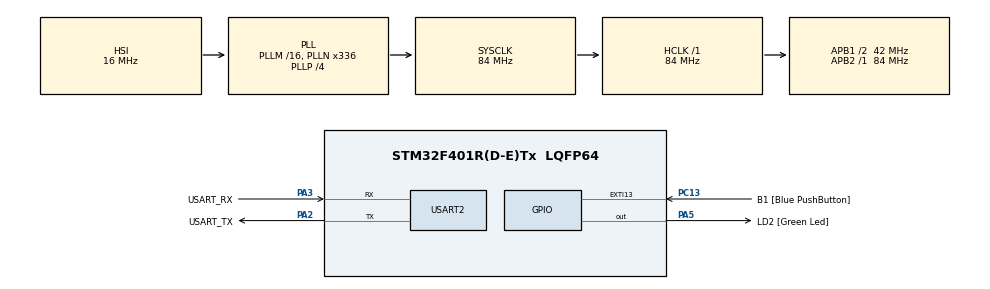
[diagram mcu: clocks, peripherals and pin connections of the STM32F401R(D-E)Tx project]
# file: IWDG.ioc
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Mcu.Family=STM32F4
PC15-OSC32_OUT.Mode=LSE-External-Oscillator
PA2.GPIO_PuPd=GPIO_NOPULL
RCC.CortexFreq_Value=84000000
PC13-ANTI_TAMP.GPIO_PuPd=GPIO_PULLUP
PC13-ANTI_TAMP.GPIO_Label=B1 [Blue PushButton]
VP_IWDG_VS_IWDG.Mode=IWDG_Activate
PA14.GPIO_Label=TCK
PA3.GPIO_PuPd=GPIO_NOPULL
PH1\ -\ OSC_OUT.Mode=HSE-External-Clock-Source
PA2.GPIO_Speed=GPIO_SPEED_FREQ_LOW
RCC.APB1CLKDivider=RCC_HCLK_DIV2
PC14-OSC32_IN.Signal=RCC_OSC32_IN
PA3.GPIO_Speed=GPIO_SPEED_FREQ_LOW
RCC.SYSCLKSource=RCC_SYSCLKSOURCE_PLLCLK
ProjectManager.StackSize=0x400
PA13.Signal=SYS_JTMS-SWDIO
PA3.Mode=Asynchronous
PH0\ -\ OSC_IN.Mode=HSE-External-Clock-Source
PH0\ -\ OSC_IN.Signal=RCC_OSC_IN
ProjectManager.TargetToolchain=STM32CubeIDE
PA3.GPIO_Mode=GPIO_MODE_AF_PP
RCC.HCLKFreq_Value=84000000
RCC.APB2TimFreq_Value=84000000
PC15-OSC32_OUT.Signal=RCC_OSC32_OUT
RCC.AHBFreq_Value=84000000
NVIC.EXTI15_10_IRQn=true\:0\:0\:false\:false\:true\:true\:true
PA5.Signal=GPIO_Output
RCC.HSE_VALUE=8000000
PH1\ -\ OSC_OUT.Signal=RCC_OSC_OUT
board=NUCLEO-F401RE
PC13-ANTI_TAMP.Signal=GPXTI13
RCC.VCOOutputFreq_Value=336000000
RCC.APB2Freq_Value=84000000
PC14-OSC32_IN.Mode=LSE-External-Oscillator
PA14.Mode=Serial_Wire
PA5.GPIO_PuPd=GPIO_NOPULL
PA13.Mode=Serial_Wire
Mcu.Name=STM32F401R(D-E)Tx
PA2.Signal=USART2_TX
PA13.GPIO_Label=TMS
RCC.48MHZClocksFreq_Value=48000000
PB3.Signal=SYS_JTDO-SWO
RCC.SYSCLKFreq_VALUE=84000000
Mcu.Package=LQFP64
PA5.GPIO_Label=LD2 [Green Led]
USART2.VirtualMode=VM_ASYNC
PC13-ANTI_TAMP.GPIO_ModeDefaultEXTI=GPIO_MODE_IT_FALLING
PA2.GPIO_Label=USART_TX
PA14.Signal=SYS_JTCK-SWCLK
ProjectManager.HeapSize=0x200
RCC.HSI_VALUE=16000000
RCC.PLLP=RCC_PLLP_DIV4
PA5.GPIO_Speed=GPIO_SPEED_FREQ_LOW
RCC.PLLQ=7
NVIC.PriorityGroup=NVIC_PRIORITYGROUP_0
RCC.PLLN=336
IWDG.Prescaler=IWDG_PRESCALER_128
RCC.APB1TimFreq_Value=84000000
PA2.Mode=Asynchronous
RCC.APB1Freq_Value=42000000
PA5.GPIO_Mode=GPIO_MODE_OUTPUT_PP
PA3.GPIO_Label=USART_RX
PA3.Signal=USART2_RX
PA2.GPIO_Mode=GPIO_MODE_AF_PP
PB3.GPIO_Label=SWO

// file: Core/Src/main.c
/* USER CODE BEGIN Header */
/**
  ******************************************************************************
  * @file           : main.c
  * @brief          : Main program body
  ******************************************************************************
  * @attention
  *
  * <h2><center>&copy; Copyright (c) 2021 STMicroelectronics.
  * All rights reserved.</center></h2>
  *
  * This software component is licensed by ST under BSD 3-Clause license,
  * the "License"; You may not use this file except in compliance with the
  * License. You may obtain a copy of the License at:
  *                        opensource.org/licenses/BSD-3-Clause
  *
  ******************************************************************************
  */
/* USER CODE END Header */
#include "main.h"

IWDG_HandleTypeDef hiwdg;

UART_HandleTypeDef huart2;

/* USER CODE BEGIN PV */
_Bool isPinrst = 0;
_Bool isIWDG = 0;
volatile _Bool flag = 0;
/* USER CODE END PV */

void SystemClock_Config(void);
static void MX_GPIO_Init(void);
static void MX_USART2_UART_Init(void);
static void MX_IWDG_Init(void);

int main(void)
{

  /* MCU Configuration--------------------------------------------------------*/

  /* Reset of all peripherals, Initializes the Flash interface and the Systick. */
  HAL_Init();

  /* Configure the system clock */
  SystemClock_Config();

  /* Initialize all configured peripherals */
  MX_GPIO_Init();
  MX_USART2_UART_Init();
  MX_IWDG_Init();
  /* USER CODE BEGIN 2 */
  //__HAL_RCC_CLEAR_RESET_FLAGS();

  /* USER CODE END 2 */

  /* Infinite loop */
  /* USER CODE BEGIN WHILE */
  while (1)
  {
	  if (!flag) {
		  HAL_IWDG_Refresh(&hiwdg);
	  }

	  if (HAL_IS_BIT_SET(RCC->CSR,(1<<RCC_CSR_IWDGRSTF_Pos))) {
		  for(uint8_t i=0;i<5;i++) {
			  HAL_GPIO_WritePin(LD2_GPIO_Port, LD2_Pin, 1);
			  HAL_Delay(250);
			  HAL_GPIO_WritePin(LD2_GPIO_Port, LD2_Pin, 0);
			  HAL_Delay(250);
		  }
	  }
	  HAL_Delay(500);
	  if (HAL_IS_BIT_SET(RCC->CSR,(1<<RCC_CSR_PINRSTF_Pos))) {
	  		  for(uint8_t i=0;i<5;i++) {
	  			  HAL_GPIO_WritePin(LD2_GPIO_Port, LD2_Pin, 1);
	  			  HAL_Delay(500);
	  			  HAL_GPIO_WritePin(LD2_GPIO_Port, LD2_Pin, 0);
	  			  HAL_Delay(500);
	  		  }
	  	  }
	  RCC->CSR |= 0x01<<RCC_CSR_RMVF_Pos;

    /* USER CODE END WHILE */

  }
}

void SystemClock_Config(void)
{
  RCC_OscInitTypeDef RCC_OscInitStruct = {0};
  RCC_ClkInitTypeDef RCC_ClkInitStruct = {0};

  /** Configure the main internal regulator output voltage
  */
  __HAL_RCC_PWR_CLK_ENABLE();
  __HAL_PWR_VOLTAGESCALING_CONFIG(PWR_REGULATOR_VOLTAGE_SCALE2);
  /** Initializes the RCC Oscillators according to the specified parameters
  * in the RCC_OscInitTypeDef structure.
  */
  RCC_OscInitStruct.OscillatorType = RCC_OSCILLATORTYPE_HSI|RCC_OSCILLATORTYPE_LSI;
  RCC_OscInitStruct.HSIState = RCC_HSI_ON;
  RCC_OscInitStruct.HSICalibrationValue = RCC_HSICALIBRATION_DEFAULT;
  RCC_OscInitStruct.LSIState = RCC_LSI_ON;
  RCC_OscInitStruct.PLL.PLLState = RCC_PLL_ON;
  RCC_OscInitStruct.PLL.PLLSource = RCC_PLLSOURCE_HSI;
  RCC_OscInitStruct.PLL.PLLM = 16;
  RCC_OscInitStruct.PLL.PLLN = 336;
  RCC_OscInitStruct.PLL.PLLP = RCC_PLLP_DIV4;
  RCC_OscInitStruct.PLL.PLLQ = 7;
  if (HAL_RCC_OscConfig(&RCC_OscInitStruct) != HAL_OK)
  {
    Error_Handler();
  }
  /** Initializes the CPU, AHB and APB buses clocks
  */
  RCC_ClkInitStruct.ClockType = RCC_CLOCKTYPE_HCLK|RCC_CLOCKTYPE_SYSCLK
                              |RCC_CLOCKTYPE_PCLK1|RCC_CLOCKTYPE_PCLK2;
  RCC_ClkInitStruct.SYSCLKSource = RCC_SYSCLKSOURCE_PLLCLK;
  RCC_ClkInitStruct.AHBCLKDivider = RCC_SYSCLK_DIV1;
  RCC_ClkInitStruct.APB1CLKDivider = RCC_HCLK_DIV2;
  RCC_ClkInitStruct.APB2CLKDivider = RCC_HCLK_DIV1;

  if (HAL_RCC_ClockConfig(&RCC_ClkInitStruct, FLASH_LATENCY_2) != HAL_OK)
  {
    Error_Handler();
  }
}

static void MX_IWDG_Init(void)
{

  hiwdg.Instance = IWDG;
  hiwdg.Init.Prescaler = IWDG_PRESCALER_128;
  hiwdg.Init.Reload = 4095;
  if (HAL_IWDG_Init(&hiwdg) != HAL_OK)
  {
    Error_Handler();
  }

}

static void MX_USART2_UART_Init(void)
{

  huart2.Instance = USART2;
  huart2.Init.BaudRate = 115200;
  huart2.Init.WordLength = UART_WORDLENGTH_8B;
  huart2.Init.StopBits = UART_STOPBITS_1;
  huart2.Init.Parity = UART_PARITY_NONE;
  huart2.Init.Mode = UART_MODE_TX_RX;
  huart2.Init.HwFlowCtl = UART_HWCONTROL_NONE;
  huart2.Init.OverSampling = UART_OVERSAMPLING_16;
  if (HAL_UART_Init(&huart2) != HAL_OK)
  {
    Error_Handler();
  }

}

static void MX_GPIO_Init(void)
{
  GPIO_InitTypeDef GPIO_InitStruct = {0};

  /* GPIO Ports Clock Enable */
  __HAL_RCC_GPIOC_CLK_ENABLE();
  __HAL_RCC_GPIOH_CLK_ENABLE();
  __HAL_RCC_GPIOA_CLK_ENABLE();
  __HAL_RCC_GPIOB_CLK_ENABLE();

  /*Configure GPIO pin Output Level */
  HAL_GPIO_WritePin(LD2_GPIO_Port, LD2_Pin, GPIO_PIN_RESET);

  /*Configure GPIO pin : B1_Pin */
  GPIO_InitStruct.Pin = B1_Pin;
  GPIO_InitStruct.Mode = GPIO_MODE_IT_FALLING;
  GPIO_InitStruct.Pull = GPIO_PULLUP;
  HAL_GPIO_Init(B1_GPIO_Port, &GPIO_InitStruct);

  /*Configure GPIO pin : LD2_Pin */
  GPIO_InitStruct.Pin = LD2_Pin;
  GPIO_InitStruct.Mode = GPIO_MODE_OUTPUT_PP;
  GPIO_InitStruct.Pull = GPIO_NOPULL;
  GPIO_InitStruct.Speed = GPIO_SPEED_FREQ_LOW;
  HAL_GPIO_Init(LD2_GPIO_Port, &GPIO_InitStruct);

  /* EXTI interrupt init*/
  HAL_NVIC_SetPriority(EXTI15_10_IRQn, 0, 0);
  HAL_NVIC_EnableIRQ(EXTI15_10_IRQn);

}

/* USER CODE BEGIN 4 */
void HAL_GPIO_EXTI_Callback(uint16_t GPIO_Pin) {
	if (GPIO_Pin == B1_Pin) {
		flag = !flag;

	} else __NOP();
}

/* USER CODE END 4 */

void Error_Handler(void)
{
  __disable_irq();
  while (1)
  {
  }
}

/************************ (C) COPYRIGHT STMicroelectronics *****END OF FILE****/
